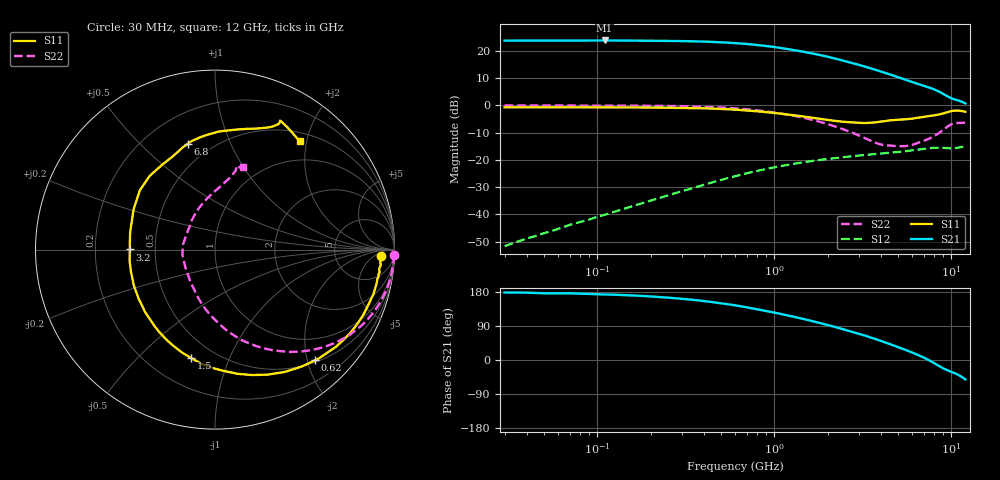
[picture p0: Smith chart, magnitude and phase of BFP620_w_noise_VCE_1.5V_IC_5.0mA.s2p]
! Infineon Technologies  Discrete & RF Semiconductors
! BFP620
! VCE =  1.5 V,  IC =  5.0 mA
! Common Emitter S-Parameters:  Nov 2015
# GHz  S  MA  R  50
!  f  S11  S21  S12  S22
! GHz  MAG  ANG  MAG  ANG  MAG  ANG  MAG  ANG
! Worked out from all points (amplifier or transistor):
!   239 points, 30 MHz to 12 GHz, reference 50 ohm
!   highest |S21| = 23.9 dB at 110 MHz (marker M1)
!   |S21| within 3 dB of that: start of sweep to 1.151 GHz
!   unconditionally stable (mu >= 1): 5.243 GHz to end of sweep
!   at 300 MHz: K = 0.07, MSG = 27.6 dB, |S12| = -31.5 dB
!   at 1.88 GHz: K = 0.50, MSG = 19.1 dB, |S12| = -19.9 dB
!   at 12 GHz: K = 1.22, MAG = 5.2 dB, |S12| = -15.3 dB
!   lowest NFmin = 0.63 dB at 450 MHz
!   S11 on the Smith chart (normalised r, x): 30 MHz: 20, -10; 620 MHz: 0.54, -2.15; 1.5 GHz: 0.37, -0.73; 3.2 GHz: 0.36, +0.00; 6.8 GHz: 0.38, +0.71; 12 GHz: 0.64, +1.88
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0.03  0.9245 -2.3  15.49 178.1  0.0026 85.7  0.9966 -1.7
0.07  0.9273 -5.4  15.61 175.9  0.0064 87.2  0.9968 -3.9
0.085  0.922 -6.8  15.56 174.7  0.0076 86.2  0.996 -4.7
0.11  0.9209 -8.6  15.62 172.9  0.0098 84.7  0.9943 -6.2
0.165  0.9186 -13.0  15.5 169.9  0.0147 83.0  0.9895 -9.3
0.24  0.9098 -18.8  15.35 165.2  0.0213 80.0  0.9797 -13.5
0.3  0.9027 -23.7  15.22 161.6  0.0265 77.5  0.9694 -16.8
0.4  0.8858 -31.4  14.9 155.6  0.0348 73.3  0.946 -22.3
0.6  0.838 -46.4  13.99 144.3  0.0501 65.1  0.8865 -32.7
0.62  0.8315 -47.8  13.88 143.3  0.0514 64.3  0.8789 -33.6
0.8  0.7839 -60.5  12.91 134.0  0.0628 57.8  0.8138 -41.9
1  0.729 -73.5  11.83 125.2  0.0731 51.6  0.7416 -50.0
1.2  0.6788 -85.7  10.82 117.1  0.0815 46.2  0.6731 -57.2
1.5  0.6188 -102.4  9.541 106.9  0.0917 39.7  0.5834 -67.0
1.64  0.594 -110.1  9.022 102.6  0.0956 37.2  0.5445 -71.3
1.94  0.55 -125.6  8.028 93.8  0.1028 32.1  0.4691 -80.0
2.4  0.5054 -147.4  6.768 82.2  0.1112 25.9  0.3739 -92.7
3.2  0.4748 179.9  5.252 65.4  0.1224 17.3  0.2554 -116.2
4.5  0.5334 141.7  3.707 41.8  0.1357 6.2  0.1839 -171.3
6.8  0.6091 104.3  2.362 9.0  0.1576 -9.9  0.2165 123.8
9  0.7144 70.8  1.631 -22.2  0.1671 -29.5  0.3565 84.6
12  0.766 52.0  1.087 -51.0  0.1723 -46.6  0.4857 71.0
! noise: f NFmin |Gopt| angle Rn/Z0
0.45  0.63  0.47  4  0.17
0.9  0.66  0.43  12  0.17
1.9  0.7  0.3  37  0.17
2.4  0.76  0.26  58  0.14
3.5  0.84  0.14  93  0.13
5.5  1.25  0.14  -174  0.13
10  1.94  0.61  -57  0.84
